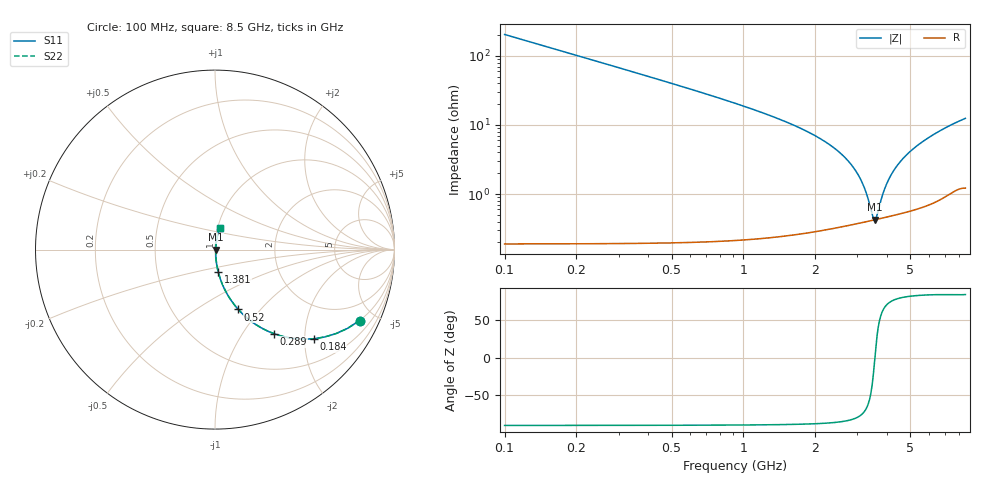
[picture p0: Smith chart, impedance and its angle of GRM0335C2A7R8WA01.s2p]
!Murata Part Number: GRM0335C2A7R8WA01
!These Parameters are Measured in Series Mode Connection
!Data Generated on Mar 30, 2021
!  o--ll--o
!Port1  Port2
!  o------o
!Operation Temp=25[degC], DC Bias Voltage=0[V]
!Freq. Start=100[MHz] Stop=9[GHz] 401[Steps]
# Hz S RI R 50
!Freq.(Hz) S11(Real) S11(Imag) S21(Real) S21(Imag) S12(Real) S12(Imag) S22(Real) S22(Imag)
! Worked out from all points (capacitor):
!   401 points, 100 MHz to 8.5 GHz, reference 50 ohm
!   read as one part in series: C = 7.8 pF near 142 MHz
!   lowest |Z| = 425 mohm at 3.544 GHz (marker M1)
!   series resonance near 3.551 GHz, so ESL is about 260 pH
!   S11 on the Smith chart (normalised r, x): 100 MHz: 1.00, -4.08; 184 MHz: 1.00, -2.21; 289 MHz: 1.00, -1.40; 520 MHz: 1.00, -0.77; 1.381 GHz: 1.00, -0.25; 8.5 GHz: 1.02, +0.25
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1e8  0.8059 -0.3951  0.1941 0.3951  0.1941 0.3951  0.8059 -0.3951
1.84e8  0.5501 -0.4966  0.4499 0.4966  0.4499 0.4966  0.5501 -0.4966
2.89e8  0.3301 -0.4689  0.6699 0.4689  0.6699 0.4689  0.3301 -0.4689
3.94e8  0.2083 -0.4042  0.7917 0.4042  0.7917 0.4042  0.2083 -0.4042
5.2e8  0.1298 -0.3335  0.8702 0.3335  0.8702 0.3335  0.1298 -0.3335
8.77e8  0.0474 -0.2077  0.9526 0.2077  0.9526 0.2077  0.0474 -0.2077
1.381e9  0.0178 -0.1229  0.9822 0.1229  0.9822 0.1229  0.0178 -0.1229
1.507e9  0.0146 -0.1091  0.9854 0.1091  0.9854 0.1091  0.0146 -0.1091
2.41e9  0.00527 -0.0453  0.9947 0.0453  0.9947 0.0453  0.00527 -0.0453
2.914e9  0.00417 -0.0228  0.9958 0.0228  0.9958 0.0228  0.00417 -0.0228
3.187e9  0.00405 -0.0124  0.9959 0.0124  0.9959 0.0124  0.00405 -0.0124
3.313e9  0.00408 -0.00796  0.9959 0.00796  0.9959 0.00796  0.00408 -0.00796
3.481e9  0.00417 -0.00228  0.9958 0.00228  0.9958 0.00228  0.00417 -0.00228
3.544e9  0.00423 -0.000224  0.9958 0.000224  0.9958 0.000224  0.00423 -0.000224
3.607e9  0.00429 0.0018  0.9957 -0.0018  0.9957 -0.0018  0.00429 0.0018
3.796e9  0.00452 0.00769  0.9955 -0.00769  0.9955 -0.00769  0.00452 0.00769
3.943e9  0.00474 0.0121  0.9953 -0.0121  0.9953 -0.0121  0.00474 0.0121
4.3e9  0.00543 0.0223  0.9946 -0.0223  0.9946 -0.0223  0.00543 0.0223
4.888e9  0.00697 0.0379  0.993 -0.0379  0.993 -0.0379  0.00697 0.0379
5.707e9  0.00991 0.0581  0.9901 -0.0581  0.9901 -0.0581  0.00991 0.0581
7.114e9  0.0177 0.0905  0.9823 -0.0905  0.9823 -0.0905  0.0177 0.0905
8.5e9  0.0267 0.1194  0.9733 -0.1194  0.9733 -0.1194  0.0267 0.1194
